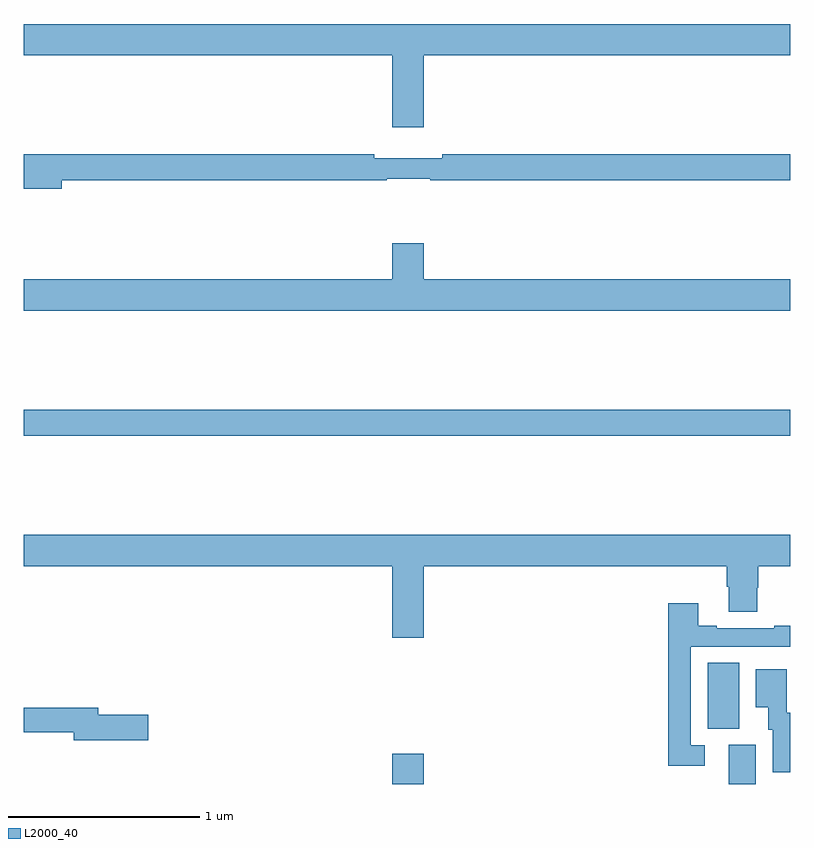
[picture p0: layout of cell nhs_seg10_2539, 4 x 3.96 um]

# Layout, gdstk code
import gdstk
lib = gdstk.Library(unit=1e-6, precision=1e-09)
def R(c, l, rs):  # rectangles x0, y0, x1, y1
    for r in rs: c.add(gdstk.rectangle(r[:2], r[2:], *l))
def P(c, l, *ps):  # polygons
    for p in ps: c.add(gdstk.Polygon(p, *l))
L2000_40 = (2000, 40)

nhs_seg10_2539 = lib.new_cell('nhs_seg10_2539')
R(nhs_seg10_2539, L2000_40, [(248.924,1312.5,249.088,1312.657), (250.679,1312.5,250.819,1312.704), (250.568,1312.789,250.732,1313.132), (247,1314.316,251,1314.452)])
P(nhs_seg10_2539, L2000_40, [(249.088,1316.3),(251,1316.3),(251,1316.464),(247,1316.464),(247,1316.3),(248.924,1316.3),(248.924,1315.926),(249.088,1315.926)],
  [(247.198,1315.648),(248.894,1315.648),(248.894,1315.656),(249.12,1315.656),(249.12,1315.648),(251,1315.648),(251,1315.784),(249.184,1315.784),(249.184,1315.765),(248.828,1315.765),(248.828,1315.784),(247,1315.784),(247,1315.606),(247.198,1315.606)],
  [(251,1315.132),(249.088,1315.132),(249.088,1315.321),(248.924,1315.321),(248.924,1315.132),(247,1315.132),(247,1314.968),(251,1314.968)],
  [(249.088,1313.636),(250.667,1313.636),(250.667,1313.53),(250.679,1313.53),(250.679,1313.398),(250.827,1313.398),(250.827,1313.523),(250.832,1313.523),(250.832,1313.636),(251,1313.636),(251,1313.8),(247,1313.8),(247,1313.636),(248.924,1313.636),(248.924,1313.262),(249.088,1313.262)],
  [(250.552,1312.701),(250.479,1312.701),(250.479,1313.217),(251,1313.217),(251,1313.326),(250.915,1313.326),(250.915,1313.313),(250.615,1313.313),(250.615,1313.326),(250.519,1313.326),(250.519,1313.443),(250.363,1313.443),(250.363,1312.596),(250.552,1312.596)],
  [(251,1312.872),(250.981,1312.872),(250.981,1313.098),(250.82,1313.098),(250.82,1312.901),(250.883,1312.901),(250.883,1312.782),(250.908,1312.782),(250.908,1312.56),(251,1312.56)],
  [(247.651,1312.862),(247.39,1312.862),(247.39,1312.898),(247,1312.898),(247,1312.77),(247.262,1312.77),(247.262,1312.727),(247.651,1312.727)])

lib.write_gds('nhs_seg10_2539.gds')
